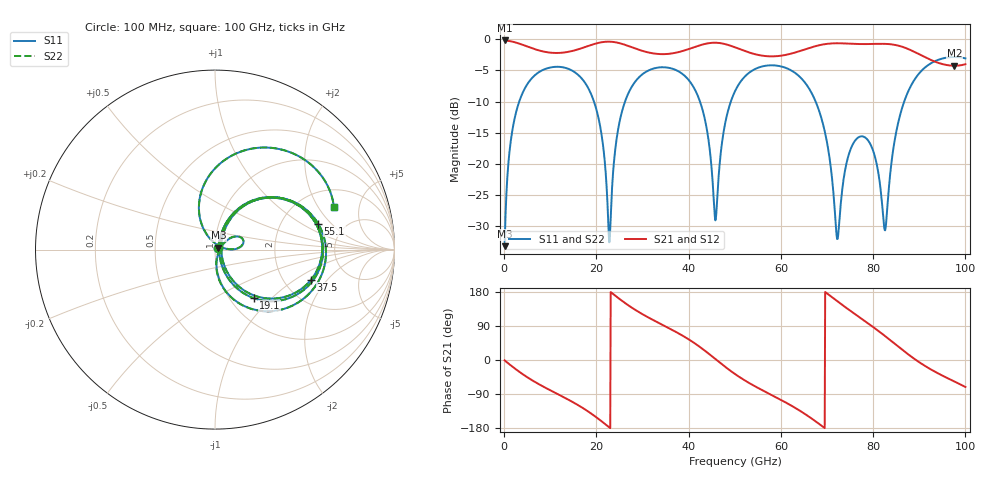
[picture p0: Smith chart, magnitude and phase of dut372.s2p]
! Touchstone file exported from HFSS 2026.1.0
!  File:  C:/ffzhzh/LocalFiles/Ansys_Project_Files/temp_train_TSV_RDL_372_1783713674_45164.aedt
!  Generated:  04:09:43 AM Jul 11, 2026
!  Design:  TSV_RDL
!  Project:  temp_train_TSV_RDL_372_1783713674_45164
! Variables:
!  h_bsmrdl = 2.54um
!  h_ox = 20um
!  h_rdl = 5um
!  h_sub = 84.92um
!  h_tmrdl = 2.83um
!  h_tsv = 84.92um
!  h_via = 3um
!  l_bsmrdl = 271.63um
!  l_sub = 2471.29um
!  l_tmrdl = 289.89um
!  m_sub = 200um
!  pitch = 53.16um
!  r_tsv = 7.8um
!  s_tmrdl = 10um
!  w_bsmrdl = 11.76um
!  w_sub = 500um
!  w_tmrdl = 20.52um
!  x_tsv_center1 = 300.15um
!  x_tsv_center2 = 583.54um
!  x_tsv_center3 = 893.95um
!  x_tsv_center4 = 1177.34um
!  x_tsv_center5 = 1487.75um
!  x_tsv_center6 = 1771.14um
# GHz S MA R 50.000000
! Terminal data exported
! Port[1] = TM_RDL1_1_T1
! Port[2] = TM_RDL5_1_T1
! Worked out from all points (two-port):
!   1000 points, 100 MHz to 100 GHz, reference 50 ohm
!   highest |S21| = -0.16 dB at 100 MHz (marker M1); lowest = -4.2 dB at 97.6 GHz (marker M2)
!   |S21| within 3 dB of the highest: start of sweep to 92.1 GHz
!   lowest |S11| = -33.3 dB at 100 MHz (marker M3), VSWR 1.04, Z = 51.9 + j1.13 ohm
!   |S11| at or under -10 dB: 19.47 GHz to 26.21 GHz (6.739 GHz wide, 29.5 % of centre); 42.46 GHz to 49.15 GHz (6.692 GHz wide, 14.6 % of centre); 67.53 GHz to 86.73 GHz (19.2 GHz wide, 24.9 % of centre) (the widest 3 of 4)
!   |S22| runs from -33.3 to -2.8 dB; largest |S21 - S12| = 3.2e-14
!   S11 on the Smith chart (normalised r, x): 100 MHz: 1.04, +0.02; 19.1 GHz: 1.28, -0.78; 37.5 GHz: 2.81, -1.37; 55.1 GHz: 3.21, +1.44; 100 GHz: 2.96, +2.79
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0.1  0.02164 30.3  0.9815 -1.0  0.9815 -1.0  0.02164 30.3
! Gamma 0 0 0 0
! Port Impedance 50 0 50 0
1.6  0.1681 66.7  0.9637 -15.7  0.9637 -15.7  0.1681 66.7
4.4  0.3979 46.1  0.8943 -40.6  0.8943 -40.6  0.3979 46.1
16.8  0.4857 -34.4  0.85 -124.8  0.85 -124.8  0.4856 -34.4
19.1  0.3449 -51.5  0.9084 -143.3  0.9084 -143.3  0.3448 -51.6
22.8  0.02324 -2.5  0.9597 -177.8  0.9597 -177.8  0.02321 -2.5
26  0.2999 57.0  0.9104 152.2  0.9104 152.2  0.2999 57.0
33.4  0.5939 7.4  0.7638 98.5  0.7638 98.5  0.5938 7.4
37.5  0.5611 -17.3  0.7858 72.4  0.7858 72.4  0.561 -17.4
42.9  0.2806 -54.4  0.9077 30.3  0.9077 30.3  0.2805 -54.5
45.8  0.03493 -0.2  0.9411 2.6  0.9411 2.6  0.03452 -0.3
50.1  0.3862 47.6  0.8629 -37.4  0.8629 -37.4  0.3861 47.6
55.1  0.5927 14.1  0.75 -74.1  0.75 -74.1  0.5925 14.1
66.7  0.368 -60.9  0.8659 -154.7  0.8659 -154.7  0.3677 -61.1
72.2  0.0247 -28.2  0.9319 155.4  0.9319 155.4  0.02311 -28.2
76.6  0.1607 24.3  0.9193 116.5  0.9193 116.5  0.1606 24.8
80.1  0.1237 2.5  0.9202 86.1  0.9202 86.1  0.1237 3.2
82.5  0.02921 50.9  0.9216 64.0  0.9216 64.0  0.03025 51.7
83.4  0.06315 113.4  0.9177 55.4  0.9177 55.4  0.06383 112.7
88  0.4101 94.8  0.825 11.3  0.825 11.3  0.4104 94.8
97.6  0.7222 32.7  0.6143 -56.7  0.6143 -56.7  0.7223 32.7
100  0.7037 19.7  0.6315 -71.2  0.6315 -71.2  0.7038 19.8
